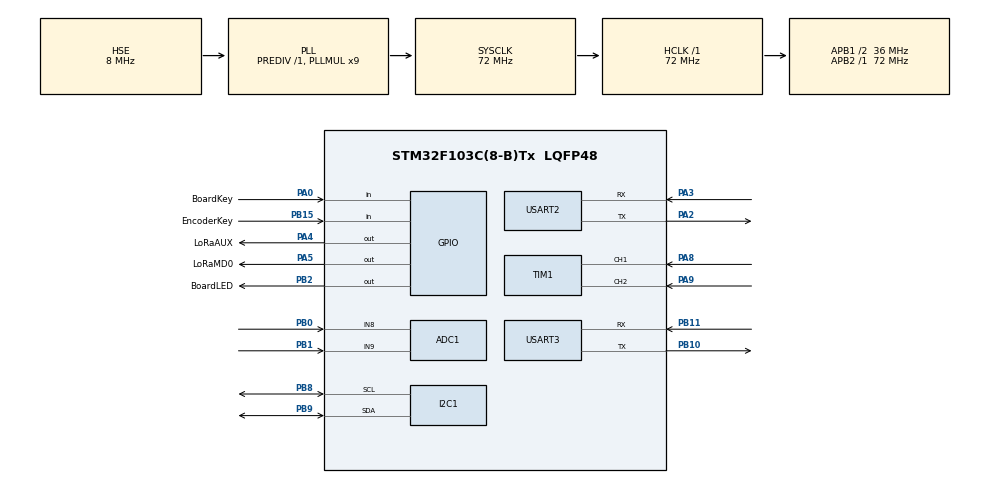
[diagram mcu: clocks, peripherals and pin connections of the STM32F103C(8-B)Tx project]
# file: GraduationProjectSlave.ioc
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ADC1.Channel-1\#ChannelRegularConversion=ADC_CHANNEL_9
ADC1.Channel-2\#ChannelRegularConversion=ADC_CHANNEL_8
ADC1.ContinuousConvMode=DISABLE
ADC1.ExternalTrigConv=ADC_EXTERNALTRIGCONV_T3_TRGO
ADC1.NbrOfConversion=2
ADC1.NbrOfConversionFlag=1
ADC1.Rank-1\#ChannelRegularConversion=1
ADC1.Rank-2\#ChannelRegularConversion=2
ADC1.SamplingTime-1\#ChannelRegularConversion=ADC_SAMPLETIME_1CYCLE_5
ADC1.SamplingTime-2\#ChannelRegularConversion=ADC_SAMPLETIME_1CYCLE_5
ADC1.master=1
Dma.ADC1.0.Direction=DMA_PERIPH_TO_MEMORY
Dma.ADC1.0.Instance=DMA1_Channel1
Dma.ADC1.0.MemDataAlignment=DMA_MDATAALIGN_HALFWORD
Dma.ADC1.0.MemInc=DMA_MINC_ENABLE
Dma.ADC1.0.Mode=DMA_CIRCULAR
Dma.ADC1.0.PeriphDataAlignment=DMA_PDATAALIGN_HALFWORD
Dma.ADC1.0.PeriphInc=DMA_PINC_DISABLE
Dma.ADC1.0.Priority=DMA_PRIORITY_LOW
Dma.I2C1_TX.1.Direction=DMA_MEMORY_TO_PERIPH
Dma.I2C1_TX.1.Instance=DMA1_Channel6
Dma.I2C1_TX.1.MemDataAlignment=DMA_MDATAALIGN_BYTE
Dma.I2C1_TX.1.MemInc=DMA_MINC_ENABLE
Dma.I2C1_TX.1.Mode=DMA_NORMAL
Dma.I2C1_TX.1.PeriphDataAlignment=DMA_PDATAALIGN_BYTE
Dma.I2C1_TX.1.PeriphInc=DMA_PINC_DISABLE
Dma.I2C1_TX.1.Priority=DMA_PRIORITY_LOW
Dma.Request0=ADC1
Dma.Request1=I2C1_TX
FREERTOS.Queues01=LoRaMessageQueue,16,Message_t,0,Dynamic,NULL,NULL
FREERTOS.Tasks01=OLEDFlushTask,24,256,OLEDFlushTaskCode,Default,NULL,Dynamic,NULL,NULL;OLEDInteraction,40,128,OLEDInteractionTaskCode,Default,NULL,Dynamic,NULL,NULL;LoRaTask,48,128,StartLoRaTask,Default,NULL,Dynamic,NULL,NULL
FREERTOS.Timers01=LEDTimer,LEDTimerCallback,osTimerPeriodic,Default,NULL,Dynamic,NULL
FREERTOS.configTIMER_TASK_PRIORITY=32
FREERTOS.configTOTAL_HEAP_SIZE=8192
FREERTOS.configUSE_NEWLIB_REENTRANT=0
I2C1.DutyCycle=I2C_DUTYCYCLE_16_9
I2C1.I2C_Mode=I2C_Fast
Mcu.Family=STM32F1
Mcu.Name=STM32F103C(8-B)Tx
Mcu.Package=LQFP48
NVIC.DMA1_Channel1_IRQn=true\:5\:0\:false\:false\:true\:true\:false\:true\:true
NVIC.DMA1_Channel6_IRQn=true\:5\:0\:false\:false\:true\:true\:false\:true\:true
NVIC.I2C1_EV_IRQn=true\:5\:0\:false\:false\:true\:true\:true\:true\:true
NVIC.PriorityGroup=NVIC_PRIORITYGROUP_4
NVIC.TIM3_IRQn=true\:5\:0\:false\:false\:true\:true\:true\:true\:true
NVIC.TIM4_IRQn=true\:15\:0\:false\:false\:true\:false\:false\:true\:true
NVIC.TimeBase=TIM4_IRQn
NVIC.TimeBaseIP=TIM4
NVIC.USART2_IRQn=true\:5\:0\:false\:false\:true\:true\:true\:true\:true
PA0-WKUP.GPIO_Label=BoardKey
PA0-WKUP.GPIO_PuPd=GPIO_PULLDOWN
PA0-WKUP.Signal=GPIO_Input
PA13.Mode=Serial_Wire
PA13.Signal=SYS_JTMS-SWDIO
PA14.Mode=Serial_Wire
PA14.Signal=SYS_JTCK-SWCLK
PA2.Mode=Asynchronous
PA2.Signal=USART2_TX
PA3.Mode=Asynchronous
PA3.Signal=USART2_RX
PA4.GPIO_Label=LoRaAUX
PA4.GPIO_PuPd=GPIO_NOPULL
PA4.GPIO_Speed=GPIO_SPEED_FREQ_HIGH
PA4.Signal=GPIO_Output
PA5.GPIO_Label=LoRaMD0
PA5.GPIO_Speed=GPIO_SPEED_FREQ_HIGH
PA5.Signal=GPIO_Output
PA8.Signal=S_TIM1_CH1
PA9.Signal=S_TIM1_CH2
PB0.Signal=ADCx_IN8
PB1.Signal=ADCx_IN9
PB10.Mode=Asynchronous
PB10.Signal=USART3_TX
PB11.Mode=Asynchronous
PB11.Signal=USART3_RX
PB15.GPIO_Label=EncoderKey
PB15.GPIO_PuPd=GPIO_PULLUP
PB15.Signal=GPIO_Input
PB2.GPIO_Label=BoardLED
PB2.GPIO_PuPd=GPIO_PULLDOWN
PB2.GPIO_Speed=GPIO_SPEED_FREQ_HIGH
PB2.Signal=GPIO_Output
PB8.Mode=I2C
PB8.Signal=I2C1_SCL
PB9.Mode=I2C
PB9.Signal=I2C1_SDA
PD0-OSC_IN.Mode=HSE-External-Oscillator
PD0-OSC_IN.Signal=RCC_OSC_IN
PD1-OSC_OUT.Mode=HSE-External-Oscillator
PD1-OSC_OUT.Signal=RCC_OSC_OUT
ProjectManager.HeapSize=0x200
ProjectManager.StackSize=0x400
ProjectManager.TargetToolchain=CMake
RCC.ADCPresc=RCC_ADCPCLK2_DIV6
RCC.AHBFreq_Value=72000000
RCC.APB1CLKDivider=RCC_HCLK_DIV2
RCC.APB1Freq_Value=36000000
RCC.APB1TimFreq_Value=72000000
RCC.APB2Freq_Value=72000000
RCC.APB2TimFreq_Value=72000000
RCC.HCLKFreq_Value=72000000
RCC.PLLMUL=RCC_PLL_MUL9
RCC.PLLSourceVirtual=RCC_PLLSOURCE_HSE
RCC.SYSCLKFreq_VALUE=72000000
RCC.SYSCLKSource=RCC_SYSCLKSOURCE_PLLCLK
RCC.USBFreq_Value=72000000
SH.ADCx_IN8.0=ADC1_IN8,IN8
SH.ADCx_IN9.0=ADC1_IN9,IN9
SH.S_TIM1_CH1.0=TIM1_CH1,Encoder_Interface
SH.S_TIM1_CH2.0=TIM1_CH2,Encoder_Interface
TIM1.EncoderMode=TIM_ENCODERMODE_TI12
TIM1.IC1Filter=15
TIM1.IC2Filter=15
TIM3.Period=10000 - 1
TIM3.Prescaler=720 - 1
TIM3.TIM_MasterOutputTrigger=TIM_TRGO_UPDATE
USART2.VirtualMode=VM_ASYNC
USART3.VirtualMode=VM_ASYNC
VP_CRC_VS_CRC.Mode=CRC_Activate
VP_FREERTOS_VS_CMSIS_V2.Mode=CMSIS_V2
VP_SYS_VS_tim4.Mode=TIM4
VP_TIM3_VS_ClockSourceINT.Mode=Internal
board=custom

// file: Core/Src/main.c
/* USER CODE BEGIN Header */
/**
 ******************************************************************************
 * @file           : main.c
 * @brief          : Main program body
 ******************************************************************************
 * @attention
 *
 * Copyright (c) 2025 STMicroelectronics.
 * All rights reserved.
 *
 * This software is licensed under terms that can be found in the LICENSE file
 * in the root directory of this software component.
 * If no LICENSE file comes with this software, it is provided AS-IS.
 *
 ******************************************************************************
 */
/* USER CODE END Header */
#include "main.h"
#include "cmsis_os.h"
#include "adc.h"
#include "crc.h"
#include "dma.h"
#include "i2c.h"
#include "tim.h"
#include "usart.h"
#include "gpio.h"

/* USER CODE BEGIN Includes */

#include "Application.h"

/* USER CODE END Includes */

void SystemClock_Config(void);
void MX_FREERTOS_Init(void);

int main(void)
{

  /* MCU Configuration--------------------------------------------------------*/

  /* Reset of all peripherals, Initializes the Flash interface and the Systick. */
  HAL_Init();

  /* Configure the system clock */
  SystemClock_Config();

  /* Initialize all configured peripherals */
  MX_GPIO_Init();
  MX_DMA_Init();
  MX_ADC1_Init();
  MX_TIM3_Init();
  MX_I2C1_Init();
  MX_TIM1_Init();
  MX_USART3_UART_Init();
  MX_USART2_UART_Init();
  MX_CRC_Init();

  /* Init scheduler */
  osKernelInitialize(); /* Call init function for freertos objects (in cmsis_os2.c) */
  MX_FREERTOS_Init();

  /* Start scheduler */
  osKernelStart();

  /* We should never get here as control is now taken by the scheduler */

  /* Infinite loop */
  while (1)
  {

  }
}

void SystemClock_Config(void)
{
  RCC_OscInitTypeDef RCC_OscInitStruct = {0};
  RCC_ClkInitTypeDef RCC_ClkInitStruct = {0};
  RCC_PeriphCLKInitTypeDef PeriphClkInit = {0};

  /** Initializes the RCC Oscillators according to the specified parameters
  * in the RCC_OscInitTypeDef structure.
  */
  RCC_OscInitStruct.OscillatorType = RCC_OSCILLATORTYPE_HSE;
  RCC_OscInitStruct.HSEState = RCC_HSE_ON;
  RCC_OscInitStruct.HSEPredivValue = RCC_HSE_PREDIV_DIV1;
  RCC_OscInitStruct.HSIState = RCC_HSI_ON;
  RCC_OscInitStruct.PLL.PLLState = RCC_PLL_ON;
  RCC_OscInitStruct.PLL.PLLSource = RCC_PLLSOURCE_HSE;
  RCC_OscInitStruct.PLL.PLLMUL = RCC_PLL_MUL9;
  if (HAL_RCC_OscConfig(&RCC_OscInitStruct) != HAL_OK)
  {
    Error_Handler();
  }

  /** Initializes the CPU, AHB and APB buses clocks
  */
  RCC_ClkInitStruct.ClockType =
      RCC_CLOCKTYPE_HCLK | RCC_CLOCKTYPE_SYSCLK | RCC_CLOCKTYPE_PCLK1 | RCC_CLOCKTYPE_PCLK2;
  RCC_ClkInitStruct.SYSCLKSource = RCC_SYSCLKSOURCE_PLLCLK;
  RCC_ClkInitStruct.AHBCLKDivider = RCC_SYSCLK_DIV1;
  RCC_ClkInitStruct.APB1CLKDivider = RCC_HCLK_DIV2;
  RCC_ClkInitStruct.APB2CLKDivider = RCC_HCLK_DIV1;

  if (HAL_RCC_ClockConfig(&RCC_ClkInitStruct, FLASH_LATENCY_2) != HAL_OK)
  {
    Error_Handler();
  }
  PeriphClkInit.PeriphClockSelection = RCC_PERIPHCLK_ADC;
  PeriphClkInit.AdcClockSelection = RCC_ADCPCLK2_DIV6;
  if (HAL_RCCEx_PeriphCLKConfig(&PeriphClkInit) != HAL_OK)
  {
    Error_Handler();
  }
}

void HAL_TIM_PeriodElapsedCallback(TIM_HandleTypeDef *htim)
{
  /* USER CODE BEGIN Callback 0 */

  if (htim->Instance == TIM3)
  {
    MQSensor_Update(&MQxSensor[0], Calculate_Sensor1PPM(Sampler.Buffer[0]));
    MQSensor_Update(&MQxSensor[1], Calculate_Sensor2PPM(Sampler.Buffer[1]));
  }

  /* USER CODE END Callback 0 */
  if (htim->Instance == TIM4)
  {
    HAL_IncTick();
  }
}

void Error_Handler(void)
{
  /* USER CODE BEGIN Error_Handler_Debug */
  /* User can add his own implementation to report the HAL error return state
   */
  __disable_irq();
  while (1)
  {
  }
  /* USER CODE END Error_Handler_Debug */
}
#ifdef USE_FULL_ASSERT
/**
  * @brief  Reports the name of the source file and the source line number
  *         where the assert_param error has occurred.
  * @param  file: pointer to the source file name
  * @param  line: assert_param error line source number
  * @retval None
  */
void assert_failed(uint8_t *file, uint32_t line)
{
  /* USER CODE BEGIN 6 */
  /* User can add his own implementation to report the file name and line
     number, ex: printf("Wrong parameters value: file %s on line %d\r\n", file,
     line) */
  /* USER CODE END 6 */
}
#endif /* USE_FULL_ASSERT */

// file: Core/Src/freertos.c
/* USER CODE BEGIN Header */
/**
 ******************************************************************************
 * File Name          : freertos.c
 * Description        : Code for freertos applications
 ******************************************************************************
 * @attention
 *
 * Copyright (c) 2025 STMicroelectronics.
 * All rights reserved.
 *
 * This software is licensed under terms that can be found in the LICENSE file
 * in the root directory of this software component.
 * If no LICENSE file comes with this software, it is provided AS-IS.
 *
 ******************************************************************************
 */
/* USER CODE END Header */

#include "FreeRTOS.h"
#include "task.h"
#include "main.h"
#include "cmsis_os.h"

/* USER CODE BEGIN Includes */

#include "Application.h"

/* USER CODE END Includes */

/* Definitions for OLEDFlushTask */
osThreadId_t OLEDFlushTaskHandle;
const osThreadAttr_t OLEDFlushTask_attributes = {
    .name = "OLEDFlushTask",
    .stack_size = 256 * 4,
    .priority = (osPriority_t) osPriorityNormal,
};
/* Definitions for OLEDInteraction */
osThreadId_t OLEDInteractionHandle;
const osThreadAttr_t OLEDInteraction_attributes = {
    .name = "OLEDInteraction",
    .stack_size = 128 * 4,
    .priority = (osPriority_t) osPriorityHigh,
};
/* Definitions for LoRaTask */
osThreadId_t LoRaTaskHandle;
const osThreadAttr_t LoRaTask_attributes = {
    .name = "LoRaTask",
    .stack_size = 128 * 4,
    .priority = (osPriority_t) osPriorityRealtime,
};
/* Definitions for LoRaMessageQueue */
osMessageQueueId_t LoRaMessageQueueHandle;
const osMessageQueueAttr_t LoRaMessageQueue_attributes = {.name = "LoRaMessageQueue"};
/* Definitions for LEDTimer */
osTimerId_t LEDTimerHandle;
const osTimerAttr_t LEDTimer_attributes = {.name = "LEDTimer"};

/* USER CODE BEGIN FunctionPrototypes */

void SlaveRegisterAck_Handler(Message_t *Message);
void SlaveLogout_Handler(Message_t *Message);
void SlaveRegisterRetry_Handler(void);
void SlaveHeartbeat_Handler(void);
void SlaveUpload_Handler(void);

/* USER CODE END FunctionPrototypes */

void OLEDFlushTaskCode(void *argument);
void OLEDInteractionTaskCode(void *argument);
void StartLoRaTask(void *argument);
void LEDTimerCallback(void *argument);

void MX_FREERTOS_Init(void); /* (MISRA C 2004 rule 8.1) */

void MX_FREERTOS_Init(void)
{

  /* Create the timer(s) */
  /* creation of LEDTimer */
  LEDTimerHandle = osTimerNew(LEDTimerCallback, osTimerPeriodic, NULL, &LEDTimer_attributes);

  /* USER CODE BEGIN RTOS_TIMERS */
  /* start timers, add new ones, ... */

  osTimerStart(LEDTimerHandle, 100);

  /* USER CODE END RTOS_TIMERS */

  /* Create the queue(s) */
  /* creation of LoRaMessageQueue */
  LoRaMessageQueueHandle = osMessageQueueNew(16, sizeof(Message_t), &LoRaMessageQueue_attributes);

  /* Create the thread(s) */
  /* creation of OLEDFlushTask */
  OLEDFlushTaskHandle = osThreadNew(OLEDFlushTaskCode, NULL, &OLEDFlushTask_attributes);

  /* creation of OLEDInteraction */
  OLEDInteractionHandle = osThreadNew(OLEDInteractionTaskCode, NULL, &OLEDInteraction_attributes);

  /* creation of LoRaTask */
  LoRaTaskHandle = osThreadNew(StartLoRaTask, NULL, &LoRaTask_attributes);

}

void OLEDFlushTaskCode(void *argument)
{
  /* USER CODE BEGIN OLEDFlushTaskCode */

  UNUSED(argument);

  Application_Init();

  /* Infinite loop */
  // uint32_t Tick = osKernelGetTickCount();
  for (;;)
  {
    // LoRa_Printf(&LoRa, "%d\r\n", osKernelGetTickCount() - Tick);
    // Tick = osKernelGetTickCount();

    OLED_ClearBuffer(&OLED);

    TextPage->UpdateCallback(TextPage, &OLED);
    SelectioneBar_Update(&SelectioneBar);

    TextPage->ShowCallback(TextPage, &OLED);
    OLED_ShowSelectioneBar(&OLED, &SelectioneBar);

    OLED_SendBuffer(&OLED);

    osDelay(10);
  }
  /* USER CODE END OLEDFlushTaskCode */
}

void OLEDInteractionTaskCode(void *argument)
{
  /* USER CODE BEGIN OLEDInteractionTaskCode */

  UNUSED(argument);

  uint32_t Tick = osKernelGetTickCount();

  /* Infinite loop */
  for (;;)
  {
    Tick = osKernelGetTickCount();

    int16_t Speed = Encoder_GetSpeed(&Encoder);
    if (Speed >= 3)
    {
      TextPage->LowerPages->RotationCallback(TextPage, &SelectioneBar, RotationDown);
    } else if (Speed <= -3)
    {
      TextPage->LowerPages->RotationCallback(TextPage, &SelectioneBar, RotationUp);
    }

    if (Key_WasPressed(&EncoderKey))
    {
      TextPage->LowerPages->ClickCallback(&TextPage, &SelectioneBar);
    }

    osDelayUntil(Tick + 100);
  }
  /* USER CODE END OLEDInteractionTaskCode */
}

void StartLoRaTask(void *argument)
{
  /* USER CODE BEGIN StartLoRaTask */

  UNUSED(argument);

  /* Infinite loop */

  for (;;)
  {
    if (LoRa.Mode != LoRaModeCommunication)
    {
      osDelay(10);
      continue;
    }

    Message_t Message;
    while (osMessageQueueGet(LoRaMessageQueueHandle, &Message, 0, 0) == osOK)
    {
      if (Message.Type == SlaveRegisterAck)
      {
        SlaveRegisterAck_Handler(&Message);

      } else if (Message.Type == SlaveLogout)
      {
        SlaveLogout_Handler(&Message);
      }
    }

    SlaveRegisterRetry_Handler();

    SlaveHeartbeat_Handler();

    SlaveUpload_Handler();

    osDelay(1);
  }
  /* USER CODE END StartLoRaTask */
}

/* LEDTimerCallback function */
void LEDTimerCallback(void *argument)
{
  /* USER CODE BEGIN LEDTimerCallback */

  UNUSED(argument);

  LED_Toggle(&BoardLED);

  /* USER CODE END LEDTimerCallback */
}

/* USER CODE BEGIN Application */

void SlaveRegisterRetry_Handler(void)
{
  if (Controller.Connecting && Controller.Register == 0 &&
      osKernelGetTickCount() - Controller.LastRegisterRetryTick > 1000)
  {
    Controller.LastRegisterRetryTick = osKernelGetTickCount();

    uint8_t Pack[9] = {
        0xAA, SlaveRegister, 0x00, 0x04, Uint32ToUint8s(Controller.UID),
    };
    Pack[8] = CRC8_Calculate(Pack, 8);
    LoRa_SendPack(&LoRa, Pack, 9);
  }
}

void SlaveRegisterAck_Handler(Message_t *Message)
{
  if (Controller.Connecting)
  {
    uint32_t UID = Uint8ArrayToUint32(Message->Data);

    if (Controller.UID == UID)
    {
      Controller.ID = Message->Data[4];
      Controller.Register = 1;
      Controller.Connecting = 0;
    }
  }
}

void SlaveLogout_Handler(Message_t *Message)
{
  uint8_t DeviceID = Message->Data[0];

  if (Controller.ID == DeviceID)
  {
    Controller.ID = 0;
    Controller.Upload = 0;
    Controller.Register = 0;
  }
}

void SlaveHeartbeat_Handler(void)
{
  if (Controller.Register && osKernelGetTickCount() - Controller.LastHeartBeatTick > 5000)
  {
    Controller.LastHeartBeatTick = osKernelGetTickCount();

    uint8_t Pack[5] = {
        0xAA,
        SlaveHeartbeat,
        Controller.ID,
        0x00,
    };
    Pack[4] = CRC8_Calculate(Pack, 4);
    LoRa_SendPack(&LoRa, Pack, 5);
  }
}

void SlaveUpload_Handler(void)
{
  if (Controller.Register && Controller.Upload &&
      (osKernelGetTickCount() - Controller.LastUploadTick) > 1000)
  {
    Controller.LastUploadTick = osKernelGetTickCount();

    uint16_t Sensor1PPM = MQSensor_GetData(&MQxSensor[0]);
    uint16_t Sensor2PPM = MQSensor_GetData(&MQxSensor[1]);
    uint8_t Pack[9] = {
        0xAA,
        SlaveUpload,
        Controller.ID,
        0x04,
        Uint16ToUint8s(Sensor1PPM),
        Uint16ToUint8s(Sensor2PPM),
    };
    Pack[8] = CRC8_Calculate(Pack, 8);
    LoRa_SendPack(&LoRa, Pack, 9);
  }
}

/* USER CODE END Application */
